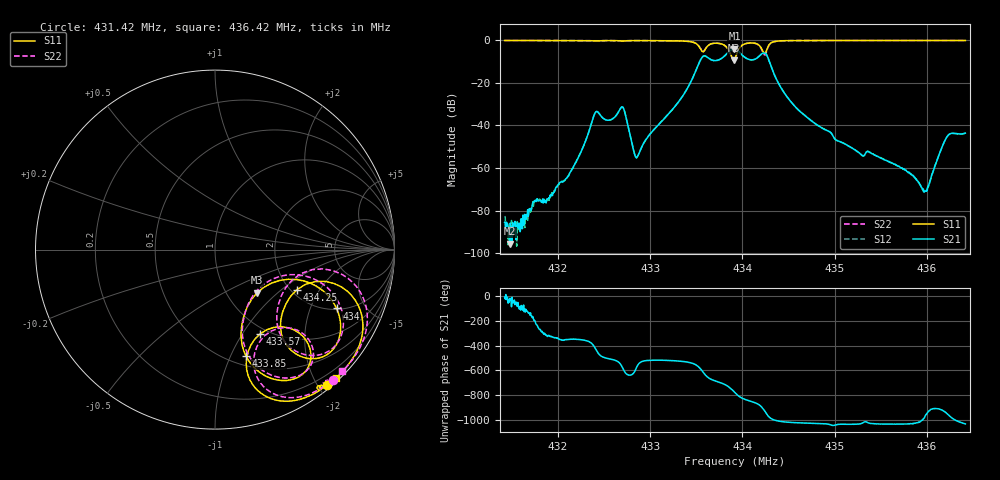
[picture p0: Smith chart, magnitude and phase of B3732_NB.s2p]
! Matrix data file written by TouchstoneData, EPCOS AG
! FILENAME: "newformat_B3732_SB.s2p"
! COMMENT: "AUF PALTINE UNANGEPASST MIT PROT EXTENSION 2"
! INFO: nport=2, nfreq=801
! DATE: "Wed Sep 19 14:19:54 2012"
! USER: "Wilfried Schott"
! port | pin | signal
!  1  |  1  |  IN
!  2  |  4  |  OUT
# MHZ S MA R 50
! freq  magS11 angS11  magS21 angS21  magS12 angS12  magS22 angS22
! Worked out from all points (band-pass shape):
!   801 points, 431.42 MHz to 436.42 MHz, reference 50 ohm
!   highest |S21| = -4.05 dB at 433.91 MHz (marker M1); lowest = -95.6 dB at 431.48 MHz (marker M2)
!   |S21| within 3 dB of the highest: 433.8161 MHz to 433.9982 MHz (182.1 kHz wide, 0.042 % of centre); 434.1937 MHz to 434.265 MHz (71.4 kHz wide, 0.0164 % of centre)
!   lowest |S11| = -9.5 dB at 433.91 MHz (marker M3), VSWR 2.01, Z = 69 - j37.4 ohm
!   |S11| at or under -10 dB: nowhere
!   |S22| runs from -9.7 to -0.2 dB; largest |S21 - S12| = 0.0009
!   S11 on the Smith chart (normalised r, x): 431.42 MHz: 0.05, -2.12; 433.57 MHz: 0.92, -1.20; 433.85 MHz: 0.60, -1.15; 434 MHz: 2.05, -3.10; 434.25 MHz: 2.15, -1.29; 436.42 MHz: 0.06, -2.32
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431.42  0.9813 -50.4  5.255e-05 -9.1  7.316e-05 -10.4  0.9802 -47.7
431.4762  0.9813 -50.5  1.655e-05 -18.0  4.498e-05 -22.6  0.9801 -47.8
431.895  0.9804 -51.2  0.0001901 43.5  0.0001999 38.1  0.9795 -48.5
432.2575  0.9778 -52.2  0.002615 7.5  0.002611 7.6  0.9769 -49.5
432.42  0.9594 -51.9  0.02116 -83.2  0.02115 -83.1  0.9598 -49.3
432.7013  0.9518 -53.0  0.02681 139.3  0.02682 139.4  0.951 -50.4
432.8512  0.9762 -53.6  0.001718 144.0  0.001741 143.1  0.9752 -50.9
433.0888  0.9731 -55.9  0.0103 -157.0  0.01031 -157.0  0.9721 -53.2
433.57  0.5325 -61.8  0.4099 110.9  0.4098 110.9  0.5532 -59.6
433.845  0.6182 -73.8  0.5125 -9.2  0.5128 -9.1  0.6071 -72.6
433.9075  0.3362 -45.6  0.6259 -49.3  0.626 -49.3  0.3263 -42.2
433.9137  0.3441 -37.5  0.6276 -54.2  0.6278 -54.2  0.3363 -33.9
433.92  0.367 -30.5  0.6247 -59.2  0.6248 -59.2  0.3609 -26.9
433.995  0.7523 -25.8  0.4509 -102.7  0.4509 -102.7  0.7502 -23.2
434.1637  0.8069 -48.9  0.3872 -149.3  0.387 -149.3  0.7983 -47.6
434.2513  0.508 -26.1  0.4886 143.3  0.4886 143.3  0.462 -21.4
434.3388  0.916 -26.0  0.1699 82.2  0.1699 82.2  0.9109 -21.8
434.7575  0.9813 -41.1  0.01236 53.2  0.01237 53.2  0.9805 -38.0
435.5888  0.9831 -45.2  0.001397 46.8  0.001429 48.6  0.9819 -42.3
435.9825  0.9829 -46.1  0.0002813 112.5  0.000267 109.6  0.9818 -43.3
436.22  0.9773 -46.5  0.005384 131.9  0.005389 132.1  0.9762 -43.7
436.42  0.98 -46.7  0.006561 48.6  0.006551 48.9  0.979 -43.9
